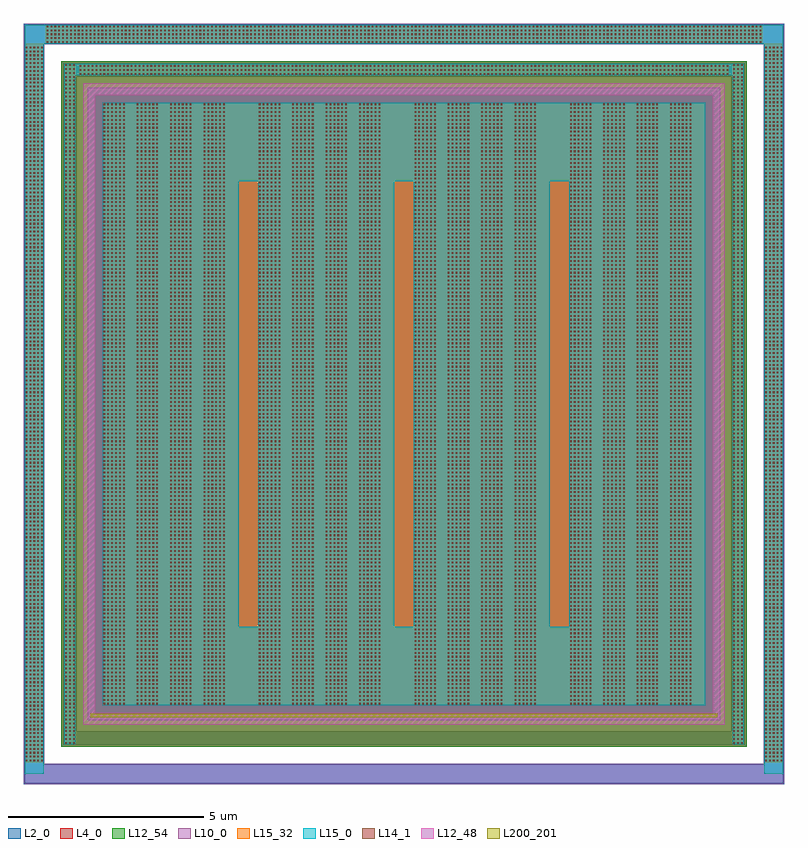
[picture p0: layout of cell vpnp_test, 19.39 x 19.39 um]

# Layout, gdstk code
import gdstk
lib = gdstk.Library(unit=1e-6, precision=1e-09)
def R(c, l, rs):  # rectangles x0, y0, x1, y1
    for r in rs: c.add(gdstk.rectangle(r[:2], r[2:], *l))
def A(c, l, x, y, w, h, nx, ny, dx, dy):  # array of equal rectangles
    R(c, l, [(x+i*dx, y+j*dy, x+i*dx+w, y+j*dy+h) for i in range(nx) for j in range(ny)])
L2_0 = (2, 0)
L4_0 = (4, 0)
L10_0 = (10, 0)
L12_48 = (12, 48)
L12_54 = (12, 54)
L14_1 = (14, 1)
L15_0 = (15, 0)
L15_32 = (15, 32)
L200_201 = (200, 201)

vpnp_test = lib.new_cell('vpnp_test')
R(vpnp_test, L2_0, [(-16.179,-8.209,3.173,-7.729), (-16.179,-7.729,-15.699,10.663), (2.693,-7.729,3.173,10.663), (-15.199,-7.229,2.193,-6.889), (-15.199,-6.889,-14.859,9.823), (1.853,-6.889,2.193,9.823), (-14.503,-6.533,1.497,9.467), (-15.199,9.823,2.193,10.163), (-16.179,10.663,3.173,11.143)])
R(vpnp_test, L4_0, [(-15.255,-7.285,2.249,10.219)])
R(vpnp_test, L10_0, [(-16.2,-8.23,3.194,-7.708), (-16.2,-7.708,-15.678,10.642), (2.672,-7.708,3.194,10.642), (-14.573,-6.603,1.567,9.537), (-16.2,10.642,3.194,11.164)])
R(vpnp_test, L12_48, [(-14.684,-6.714,1.678,-6.408), (-14.684,-6.408,-14.378,9.342), (1.372,-6.408,1.678,9.342), (-14.684,9.342,1.678,9.648)])
R(vpnp_test, L12_54, [(-15.255,-7.285,2.249,10.219)])
A(vpnp_test, L14_1, -16.159, -7.653, 0.04, 0.04, 5, 183, 0.1, 0.1)
A(vpnp_test, L14_1, 2.713, -7.653, 0.04, 0.04, 5, 183, 0.1, 0.1)
A(vpnp_test, L14_1, -15.149, -7.203, 0.04, 0.04, 3, 174, 0.1, 0.1)
A(vpnp_test, L14_1, 1.903, -7.203, 0.04, 0.04, 3, 174, 0.1, 0.1)
A(vpnp_test, L14_1, -14.173, -6.203, 0.04, 0.04, 6, 154, 0.1, 0.1)
A(vpnp_test, L14_1, -13.321, -6.203, 0.04, 0.04, 6, 154, 0.1, 0.1)
A(vpnp_test, L14_1, -12.469, -6.203, 0.04, 0.04, 6, 154, 0.1, 0.1)
A(vpnp_test, L14_1, -11.617, -6.203, 0.04, 0.04, 6, 154, 0.1, 0.1)
A(vpnp_test, L14_1, -10.204, -6.203, 0.04, 0.04, 6, 154, 0.1, 0.1)
A(vpnp_test, L14_1, -9.352, -6.203, 0.04, 0.04, 6, 154, 0.1, 0.1)
A(vpnp_test, L14_1, -8.5, -6.203, 0.04, 0.04, 6, 154, 0.1, 0.1)
A(vpnp_test, L14_1, -7.648, -6.203, 0.04, 0.04, 6, 154, 0.1, 0.1)
A(vpnp_test, L14_1, -6.235, -6.203, 0.04, 0.04, 6, 154, 0.1, 0.1)
A(vpnp_test, L14_1, -5.383, -6.203, 0.04, 0.04, 6, 154, 0.1, 0.1)
A(vpnp_test, L14_1, -4.531, -6.203, 0.04, 0.04, 6, 154, 0.1, 0.1)
A(vpnp_test, L14_1, -3.679, -6.203, 0.04, 0.04, 6, 154, 0.1, 0.1)
A(vpnp_test, L14_1, -2.266, -6.203, 0.04, 0.04, 6, 154, 0.1, 0.1)
A(vpnp_test, L14_1, -1.414, -6.203, 0.04, 0.04, 6, 154, 0.1, 0.1)
A(vpnp_test, L14_1, -0.562, -6.203, 0.04, 0.04, 6, 154, 0.1, 0.1)
A(vpnp_test, L14_1, 0.29, -6.203, 0.04, 0.04, 6, 154, 0.1, 0.1)
A(vpnp_test, L14_1, -14.773, 9.873, 0.04, 0.04, 166, 3, 0.1, 0.1)
A(vpnp_test, L14_1, -15.623, 10.683, 0.04, 0.04, 183, 5, 0.1, 0.1)
A(vpnp_test, L15_0, -14.191, -4.221, 3.469, 11.376, 4, 1, 3.969, 0)
R(vpnp_test, L15_0, [(-16.177,-7.969,-15.701,11.141), (2.695,-7.969,3.171,11.141), (-15.167,-7.221,-14.891,10.155), (1.885,-7.221,2.161,10.155), (-14.191,-6.221,1.185,-4.221), (-14.191,7.155,1.185,9.155), (-14.891,9.855,1.885,10.155), (-15.701,10.665,2.695,11.141)])
R(vpnp_test, L15_32, [(-16.177,-7.671,-15.701,10.665), (2.695,-7.671,3.171,10.665), (-15.167,-7.221,-14.891,10.155), (1.885,-7.221,2.161,10.155), (-14.191,-6.221,1.185,9.155), (-14.791,9.855,1.785,10.131), (-15.641,10.665,2.635,11.141)])
R(vpnp_test, L200_201, [(-14.503,-6.533,1.497,-6.433)])

lib.write_gds('vpnp_test.gds')
